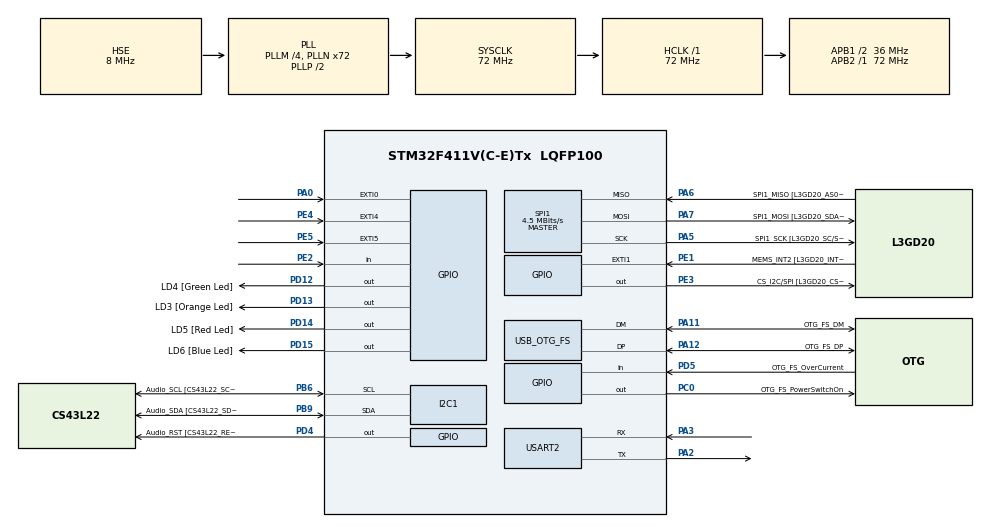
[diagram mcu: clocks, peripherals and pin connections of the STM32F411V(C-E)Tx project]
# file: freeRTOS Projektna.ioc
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FREERTOS.Tasks01=defaultTask,24,128,StartDefaultTask,Default,NULL,Dynamic,NULL,NULL
FREERTOS.configGENERATE_RUN_TIME_STATS=1
FREERTOS.configRECORD_STACK_HIGH_ADDRESS=1
FREERTOS.configUSE_NEWLIB_REENTRANT=1
FREERTOS.configUSE_STATS_FORMATTING_FUNCTIONS=1
I2C1.DutyCycle=I2C_DUTYCYCLE_16_9
I2C1.I2C_Mode=I2C_Fast
Mcu.Family=STM32F4
Mcu.Name=STM32F411V(C-E)Tx
Mcu.Package=LQFP100
NVIC.OTG_FS_IRQn=true\:5\:0\:false\:false\:true\:true\:false\:true\:true
NVIC.PriorityGroup=NVIC_PRIORITYGROUP_4
NVIC.TIM4_IRQn=true\:15\:0\:false\:false\:true\:false\:false\:true\:true
NVIC.TimeBase=TIM4_IRQn
NVIC.TimeBaseIP=TIM4
NVIC.USART2_IRQn=true\:5\:0\:false\:false\:true\:true\:true\:true\:true
PA0-WKUP.GPIO_ModeDefaultEXTI=GPIO_MODE_EVT_RISING
PA0-WKUP.Signal=GPXTI0
PA10.GPIO_Label=OTG_FS_ID
PA10.Signal=USB_OTG_FS_ID
PA11.GPIO_Label=OTG_FS_DM
PA11.Mode=Device_Only
PA11.Signal=USB_OTG_FS_DM
PA12.GPIO_Label=OTG_FS_DP
PA12.Mode=Device_Only
PA12.Signal=USB_OTG_FS_DP
PA13.GPIO_Label=SWDIO
PA13.Mode=Serial_Wire
PA13.Signal=SYS_JTMS-SWDIO
PA14.GPIO_Label=SWCLK
PA14.Mode=Serial_Wire
PA14.Signal=SYS_JTCK-SWCLK
PA2.Mode=Asynchronous
PA2.Signal=USART2_TX
PA3.Mode=Asynchronous
PA3.Signal=USART2_RX
PA4.GPIO_Label=I2S3_WS [CS43L22_LRCK]
PA4.GPIO_Mode=GPIO_MODE_AF_PP
PA4.GPIO_PuPd=GPIO_NOPULL
PA4.GPIO_Speed=GPIO_SPEED_FREQ_LOW
PA4.Signal=I2S3_WS
PA5.GPIO_Label=SPI1_SCK [L3GD20_SC/SPC]
PA5.Mode=Full_Duplex_Master
PA5.Signal=SPI1_SCK
PA6.GPIO_Label=SPI1_MISO [L3GD20_AS0/SDO]
PA6.Mode=Full_Duplex_Master
PA6.Signal=SPI1_MISO
PA7.GPIO_Label=SPI1_MOSI [L3GD20_SDA/SDI/SDO]
PA7.Mode=Full_Duplex_Master
PA7.Signal=SPI1_MOSI
PA9.GPIO_Label=VBUS_FS
PA9.Signal=USB_OTG_FS_VBUS
PB10.GPIO_Label=CLK_IN [MP45DT02_CLK]
PB10.Signal=I2S2_CK
PB12.Signal=I2S2_WS
PB3.GPIO_Label=SWO
PB3.Signal=SYS_JTDO-SWO
PB6.GPIO_Label=Audio_SCL [CS43L22_SCL]
PB6.GPIO_Mode=GPIO_MODE_AF_OD
PB6.GPIO_PuPd=GPIO_NOPULL
PB6.GPIO_Speed=GPIO_SPEED_FREQ_LOW
PB6.Mode=I2C
PB6.Signal=I2C1_SCL
PB9.GPIO_Label=Audio_SDA [CS43L22_SDA]
PB9.GPIO_Mode=GPIO_MODE_AF_OD
PB9.GPIO_PuPd=GPIO_NOPULL
PB9.GPIO_Speed=GPIO_SPEED_FREQ_LOW
PB9.Mode=I2C
PB9.Signal=I2C1_SDA
PC0.GPIO_Label=OTG_FS_PowerSwitchOn
PC0.PinState=GPIO_PIN_SET
PC0.Signal=GPIO_Output
PC10.GPIO_Label=I2S3_SCK [CS43L22_SCLK]
PC10.GPIO_Mode=GPIO_MODE_AF_PP
PC10.GPIO_PuPd=GPIO_NOPULL
PC10.GPIO_Speed=GPIO_SPEED_FREQ_LOW
PC10.Signal=I2S3_CK
PC12.GPIO_Label=I2S3_SD [CS43L22_SDIN]
PC12.GPIO_Mode=GPIO_MODE_AF_PP
PC12.GPIO_PuPd=GPIO_NOPULL
PC12.GPIO_Speed=GPIO_SPEED_FREQ_LOW
PC12.Signal=I2S3_SD
PC14-OSC32_IN.GPIO_Label=PC14-OSC32_IN
PC14-OSC32_IN.Signal=RCC_OSC32_IN
PC15-OSC32_OUT.GPIO_Label=PC15-OSC32_OUT
PC15-OSC32_OUT.Signal=RCC_OSC32_OUT
PC3.GPIO_Label=PDM_OUT [MP45DT02_DOUT]
PC3.Signal=I2S2_SD
PC7.GPIO_Label=I2S3_MCK [CS43L22_MCLK]
PC7.GPIO_Mode=GPIO_MODE_AF_PP
PC7.GPIO_PuPd=GPIO_NOPULL
PC7.GPIO_Speed=GPIO_SPEED_FREQ_LOW
PC7.Signal=I2S3_MCK
PD12.GPIO_Label=LD4 [Green Led]
PD12.GPIO_PuPd=GPIO_NOPULL
PD12.GPIO_Speed=GPIO_SPEED_FREQ_LOW
PD12.Signal=GPIO_Output
PD13.GPIO_Label=LD3 [Orange Led]
PD13.GPIO_PuPd=GPIO_NOPULL
PD13.GPIO_Speed=GPIO_SPEED_FREQ_LOW
PD13.Signal=GPIO_Output
PD14.GPIO_Label=LD5 [Red Led]
PD14.GPIO_PuPd=GPIO_NOPULL
PD14.GPIO_Speed=GPIO_SPEED_FREQ_LOW
PD14.Signal=GPIO_Output
PD15.GPIO_Label=LD6 [Blue Led]
PD15.GPIO_PuPd=GPIO_NOPULL
PD15.GPIO_Speed=GPIO_SPEED_FREQ_LOW
PD15.Signal=GPIO_Output
PD4.GPIO_Label=Audio_RST [CS43L22_RESET]
PD4.Signal=GPIO_Output
PD5.GPIO_Label=OTG_FS_OverCurrent
PD5.Signal=GPIO_Input
PE1.GPIO_Label=MEMS_INT2 [L3GD20_INT2]
PE1.GPIO_ModeDefaultEXTI=GPIO_MODE_EVT_RISING
PE1.Signal=GPXTI1
PE2.Signal=GPIO_Input
PE3.GPIO_Label=CS_I2C/SPI [L3GD20_CS_I2C/SPI]
PE3.GPIO_Speed=GPIO_SPEED_FREQ_HIGH
PE3.Signal=GPIO_Output
PE4.GPIO_ModeDefaultEXTI=GPIO_MODE_EVT_RISING
PE4.Signal=GPXTI4
PE5.GPIO_ModeDefaultEXTI=GPIO_MODE_EVT_RISING
PE5.Signal=GPXTI5
PH0\ -\ OSC_IN.GPIO_Label=PH0-OSC_IN
PH0\ -\ OSC_IN.Mode=HSE-External-Oscillator
PH0\ -\ OSC_IN.Signal=RCC_OSC_IN
PH1\ -\ OSC_OUT.GPIO_Label=PH1-OSC_OUT
PH1\ -\ OSC_OUT.Mode=HSE-External-Oscillator
PH1\ -\ OSC_OUT.Signal=RCC_OSC_OUT
ProjectManager.HeapSize=0x200
ProjectManager.StackSize=0x400
ProjectManager.TargetToolchain=STM32CubeIDE
RCC.48MHZClocksFreq_Value=48000000
RCC.AHBFreq_Value=72000000
RCC.APB1CLKDivider=RCC_HCLK_DIV2
RCC.APB1Freq_Value=36000000
RCC.APB1TimFreq_Value=72000000
RCC.APB2Freq_Value=72000000
RCC.APB2TimFreq_Value=72000000
RCC.CortexFreq_Value=72000000
RCC.HCLKFreq_Value=72000000
RCC.HSE_VALUE=8000000
RCC.HSI_VALUE=16000000
RCC.LSE_VALUE=32768
RCC.PLLI2SM=5
RCC.PLLI2SN=200
RCC.PLLM=4
RCC.PLLN=72
RCC.PLLQ=3
RCC.SYSCLKFreq_VALUE=72000000
RCC.SYSCLKSource=RCC_SYSCLKSOURCE_PLLCLK
RCC.VCOOutputFreq_Value=144000000
SPI1.BaudRatePrescaler=SPI_BAUDRATEPRESCALER_16
SPI1.CLKPhase=SPI_PHASE_2EDGE
SPI1.CLKPolarity=SPI_POLARITY_HIGH
SPI1.CalculateBaudRate=4.5 MBits/s
SPI1.Direction=SPI_DIRECTION_2LINES
SPI1.Mode=SPI_MODE_MASTER
SPI1.VirtualType=VM_MASTER
USART2.VirtualMode=VM_ASYNC
USB_DEVICE.CLASS_NAME_FS=CDC
USB_DEVICE.VirtualMode=Cdc
USB_DEVICE.VirtualModeFS=Cdc_FS
USB_OTG_FS.VirtualMode=Device_Only
VP_FREERTOS_VS_CMSIS_V2.Mode=CMSIS_V2
VP_SYS_VS_tim4.Mode=TIM4
VP_TIM10_VS_ClockSourceINT.Mode=Enable_Timer
VP_USB_DEVICE_VS_USB_DEVICE_CDC_FS.Mode=CDC_FS
board=STM32F411E-DISCO

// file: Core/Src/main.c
/* USER CODE BEGIN Header */
/**
  ******************************************************************************
  * @file           : main.c
  * @brief          : Main program body
  ******************************************************************************
  * @attention
  *
  * Copyright (c) 2024 STMicroelectronics.
  * All rights reserved.
  *
  * This software is licensed under terms that can be found in the LICENSE file
  * in the root directory of this software component.
  * If no LICENSE file comes with this software, it is provided AS-IS.
  *
  ******************************************************************************
  */
/* USER CODE END Header */
#include "main.h"
#include "cmsis_os.h"
#include "usb_device.h"

/* USER CODE BEGIN Includes */
#include "FreeRTOS.h"
#include "task.h"
#include "queue.h"
#include "event_groups.h"
#include "esp32_manager.h"
#include "MQTT_dispatcher.h"
/* USER CODE END Includes */

/* USER CODE BEGIN PD */
//#define USED_UART USART2
//#define WIFI_SSID A1-8CB990
//#define WIFI_PASS NLMJGNENXN
//#define MQTT_BROKER_PORT 1883

#define TaskReadAccel_BIT (1UL << 0UL)
#define TaskSendAccel_BIT (1UL << 1UL)
#define TaskReadGyro_BIT (1UL << 2UL)
/* USER CODE END PD */

I2C_HandleTypeDef hi2c1;

SPI_HandleTypeDef hspi1;

TIM_HandleTypeDef htim10;

UART_HandleTypeDef huart2;

/* Definitions for defaultTask */
osThreadId_t defaultTaskHandle;
const osThreadAttr_t defaultTask_attributes = {
  .name = "defaultTask",
  .stack_size = 128 * 4,
  .priority = (osPriority_t) osPriorityNormal,
};
/* USER CODE BEGIN PV */
EXTERN_TASK_HANDLES
QueueHandle_t QueueGyro;
QueueHandle_t QueueAccel;
EventGroupHandle_t xEventGroup;
uint8_t cip2 = 11;
int16_t meritev_test[6];
int ret;
/* USER CODE END PV */

void SystemClock_Config(void);
static void MX_GPIO_Init(void);
static void MX_I2C1_Init(void);
static void MX_SPI1_Init(void);
static void MX_USART2_UART_Init(void);
static void MX_TIM10_Init(void);
void StartDefaultTask(void *argument);

/* USER CODE BEGIN PFP */
void TaskReadGyro(void *pvParameters);
void TaskReadAccel(void *pvParameters);
void TaskSendGyro(void *pvParameters);
void TaskSendAccel(void *pvParameters);

void initGyro(void);
void initAccel(void);
uint8_t spi1_beriRegister(uint8_t);
void spi1_beriRegistre(uint8_t, uint8_t*, uint8_t);
void spi1_pisiRegister(uint8_t, uint8_t);
uint8_t i2c1_pisiRegister(uint8_t, uint8_t, uint8_t);
void i2c1_beriRegistre(uint8_t, uint8_t, uint8_t*, uint8_t);
void initAccel(void);
/* USER CODE END PFP */

/* USER CODE BEGIN 0 */
uint8_t spi1_beriRegister(uint8_t reg) {
    uint16_t buf_out, buf_in;
    reg |= 0x80; // najpomembnejsi bit na 1
    buf_out = reg; // little endian, se postavi na pravo mesto ....
    HAL_GPIO_WritePin(GPIOE, GPIO_PIN_3, GPIO_PIN_RESET);
    HAL_SPI_TransmitReceive(&hspi1, (uint8_t*)&buf_out, (uint8_t*)&buf_in, 2, 2); // blocking posiljanje ....
    HAL_GPIO_WritePin(GPIOE, GPIO_PIN_3, GPIO_PIN_SET);
    return buf_in >> 8; // little endian...
}
void spi1_pisiRegister(uint8_t reg, uint8_t vrednost) {
    uint16_t buf_out;
    buf_out = reg | (vrednost<<8); // little endian, se postavi na pravo mesto ....
    HAL_GPIO_WritePin(GPIOE, GPIO_PIN_3, GPIO_PIN_RESET);
    HAL_SPI_Transmit(&hspi1, (uint8_t*)&buf_out, 2, 2); // blocking posiljanje ....
    HAL_GPIO_WritePin(GPIOE, GPIO_PIN_3, GPIO_PIN_SET);
}
void spi1_beriRegistre(uint8_t reg, uint8_t* buffer, uint8_t velikost) {
    reg |= 0xC0; // najpomembnejsa bita na 1
    HAL_GPIO_WritePin(GPIOE, GPIO_PIN_3, GPIO_PIN_RESET);
    HAL_SPI_Transmit(&hspi1, &reg, 1, 10); // blocking posiljanje....
    HAL_SPI_Receive(&hspi1,  buffer, velikost, velikost); // blocking posiljanje....
    HAL_GPIO_WritePin(GPIOE, GPIO_PIN_3, GPIO_PIN_SET);
}
void initGyro() { // ne pozabit klicat te funkcije
    uint8_t cip = spi1_beriRegister(0x0F);
    if (cip!=0xD4 && cip!=0xD3) {
        for (;;);
    }
    spi1_pisiRegister(0x20, 0x4F); // CTRL_REG1 PD Zen Yen Xen 200hz
    //TUKAJ NASTAVI Hz pa sensitivity +-500dps
    spi1_pisiRegister(0x22, 0x08); //DRDY
    spi1_pisiRegister(0x23, 0x10);
}
uint8_t i2c1_pisiRegister(uint8_t naprava, uint8_t reg, uint8_t podatek) {
    naprava <<= 1;
    return HAL_I2C_Mem_Write(&hi2c1, naprava, reg, I2C_MEMADD_SIZE_8BIT, &podatek, 1, 10);
}
void i2c1_beriRegistre(uint8_t naprava, uint8_t reg, uint8_t* podatek, uint8_t dolzina) {
    if ((dolzina>1)&&(naprava==0x19))  // ce je naprava 0x19 moramo postaviti ta bit, ce zelimo brati vec zlogov
        reg |= 0x80;
    naprava <<= 1;
    HAL_I2C_Mem_Read(&hi2c1, naprava, reg, I2C_MEMADD_SIZE_8BIT, podatek, dolzina, dolzina);
}
void initAccel() {
    i2c1_pisiRegister(0x19, 0x20, 0x27);
    i2c1_pisiRegister(0x19, 0x23, 0xA8);
}
void TaskReadGyro(void *pvParameters){
	int16_t gyroX;
	int16_t gyroY;
	int16_t gyroZ;

	const EventBits_t xBitsToWaitFor = (TaskReadAccel_BIT | TaskSendAccel_BIT);
	while(1){
		xEventGroupWaitBits(xEventGroup, xBitsToWaitFor, pdTRUE, pdFALSE, portMAX_DELAY);

		spi1_beriRegistre(0x28, (uint8_t*)&gyroX, 2);
		spi1_beriRegistre(0x2A, (uint8_t*)&gyroY, 2);
		spi1_beriRegistre(0x2C, (uint8_t*)&gyroZ, 2);

		xQueueSendToBack(QueueGyro, &gyroX, 0);
		xQueueSendToBack(QueueGyro, &gyroY, 0);
		xQueueSendToBack(QueueGyro, &gyroZ, 0);
	}
}
void TaskReadAccel(void *pvParameters){
	float accelX;
	float accelY;
	float accelZ;
	int16_t meritve[3];

	while(1){
		//i2c1_beriRegistre(0x19, 0x28,(uint8_t*)&meritve[0], 2);
		//i2c1_beriRegistre(0x19, 0x2A,(uint8_t*)&meritve[1], 2);
		//i2c1_beriRegistre(0x19, 0x2C,(uint8_t*)&meritve[2], 2);
		i2c1_beriRegistre(0x19, 0x28,(uint8_t*)&meritve, 6);

		meritve[0] = meritve[0] >> 4;
		meritve[1] = meritve[1] >> 4;
		meritve[2] = meritve[2] >> 4;

		accelX = meritve[0] * 0.0039;
		accelY = meritve[1] * 0.0039;
		accelZ = meritve[2] * 0.0039;

		xQueueSendToBack(QueueAccel, &accelX, 0);
		xQueueSendToBack(QueueAccel, &accelY, 0);
		xQueueSendToBack(QueueAccel, &accelZ, 0);

		xEventGroupSetBits(xEventGroup, TaskReadAccel_BIT);
	}

}
void TaskSendGyro(void *pvParameters){
	int16_t meritev[10];
	float meritev_send[5];

	meritev_send[0] = 0xaaaa;

	meritev[0] = 0xaaaa;
	const EventBits_t xBitsToWaitFor = (TaskReadAccel_BIT | TaskSendAccel_BIT | TaskReadGyro_BIT);
	const TickType_t xTicksToWait = pdMS_TO_TICKS(100);
	while(1){
		xEventGroupWaitBits(xEventGroup, xBitsToWaitFor, pdTRUE, pdFALSE, portMAX_DELAY);

		xQueueReceive(QueueGyro, &meritev[1], xTicksToWait);
		xQueueReceive(QueueGyro, &meritev[2], xTicksToWait);
		xQueueReceive(QueueGyro, &meritev[3], xTicksToWait);

//		meritev_send[1] =meritev[1] * 0.0175;
//		meritev_send[2] =meritev[2] * 0.0175;
//		meritev_send[3] =meritev[3] * 0.0175;

		meritev[4] = DWT->CYCCNT;
		//float clock = DWT->CYCCNT;

		//posli
		CDC_Transmit_FS((uint8_t*)&meritev, sizeof(meritev));
		//CDC_Transmit_FS((uint8_t*)&clock, sizeof(clock));
	}
}
void TaskSendAccel(void *pvParameters){
	float meritev[5];

	meritev[0] = 0xbbbb;
	const TickType_t xTicksToWait = pdMS_TO_TICKS(100);
	while(1){
		xQueueReceive(QueueAccel, &meritev[1], xTicksToWait);
		xQueueReceive(QueueAccel, &meritev[2], xTicksToWait);
		xQueueReceive(QueueAccel, &meritev[3], xTicksToWait);

		meritev[4] = DWT->CYCCNT;
		//posli
		//CDC_Transmit_FS((uint8_t*)&glava, sizeof(glava));
		CDC_Transmit_FS((uint8_t*)&meritev, sizeof(meritev));

		xEventGroupSetBits(xEventGroup, TaskSendAccel_BIT);

	}
}

void task_test(void *pvParameteres){
	int16_t meritev[8];
	meritev[0] = 0xaaaa;

	float meritev2[4];
	meritev2[0] = 0xbbbb;

	float accelX;
	float accelY;
	float accelZ;

	int16_t meritve[3];
	while(1){
		i2c1_beriRegistre(0x19, 0x28,(uint8_t*)&meritve[0], 2);
		i2c1_beriRegistre(0x19, 0x2A,(uint8_t*)&meritve[1], 2);
		i2c1_beriRegistre(0x19, 0x2C,(uint8_t*)&meritve[2], 2);

		meritve[0] = meritve[0] >> 4;
		meritve[1] = meritve[1] >> 4;
		meritve[2] = meritve[2] >> 4;

		accelX = meritve[0] * 0.0039;
		accelY = meritve[1] * 0.0039;
		accelZ = meritve[2] * 0.0039;

		meritev2[1] = accelX;
		meritev2[2] = accelY;
		meritev2[3] = accelZ;

		mqtt_pub_raw("AccelData", &meritev2, sizeof(meritev2), 1, 0, pdMS_TO_TICKS(100));

		int16_t gyroX;
		int16_t gyroY;
		int16_t gyroZ;

		spi1_beriRegistre(0x28, (uint8_t*)&gyroX, 2);
		spi1_beriRegistre(0x2A, (uint8_t*)&gyroY, 2);
		spi1_beriRegistre(0x2C, (uint8_t*)&gyroZ, 2);

//		gyroX *= 0.0175;
//		gyroY *= 0.0175;
//		gyroZ *= 0.0175;

		meritev[1] = gyroX;
		meritev[2] = gyroY;
		meritev[3] = gyroZ;

		mqtt_pub_raw("GyroData", &meritev, sizeof(meritev), 1, 0, pdMS_TO_TICKS(100));

		//vTaskDelay(1000 / portTICK_PERIOD_MS);
	}
}
/* USER CODE END 0 */

int main(void)
{

  /* MCU Configuration--------------------------------------------------------*/

  /* Reset of all peripherals, Initializes the Flash interface and the Systick. */
  HAL_Init();

  /* Configure the system clock */
  SystemClock_Config();

  /* Initialize all configured peripherals */
  MX_GPIO_Init();
  MX_I2C1_Init();
  MX_SPI1_Init();
  MX_USART2_UART_Init();
  MX_TIM10_Init();
  /* USER CODE BEGIN 2 */
  __HAL_I2C_ENABLE(&hi2c1);
  __HAL_SPI_ENABLE(&hspi1);
  HAL_GPIO_WritePin(GPIOE, GPIO_PIN_3, GPIO_PIN_SET);

  initGyro();
  initAccel();

//  if(esp32_init(&huart2) != pdPASS){
//	  for(;;);
//  }
//  HAL_GPIO_WritePin(GPIOD, GPIO_PIN_13, GPIO_PIN_SET);
//  if(mqtt_init() != pdPASS){
//	  for(;;);
//  }
//  HAL_GPIO_WritePin(GPIOD, GPIO_PIN_14, GPIO_PIN_SET);

  /* USER CODE END 2 */

  /* Init scheduler */
  osKernelInitialize();

  /* USER CODE BEGIN RTOS_QUEUES */
  /* add queues, ... */
  QueueGyro = xQueueCreate( 5, sizeof( int16_t ) );
  QueueAccel = xQueueCreate( 5, sizeof( float ) );
  /* USER CODE END RTOS_QUEUES */

  /* Create the thread(s) */
  /* creation of defaultTask */
  defaultTaskHandle = osThreadNew(StartDefaultTask, NULL, &defaultTask_attributes);

  /* USER CODE BEGIN RTOS_THREADS */
  /* add threads, ... */
  xTaskCreate(TaskSendGyro, "CDC_Gyro", configMINIMAL_STACK_SIZE, NULL, 2, NULL);
  xTaskCreate(TaskSendAccel, "CDC_Accel", configMINIMAL_STACK_SIZE, NULL, 2, NULL);
  xTaskCreate(TaskReadGyro, "Data_Gyro", configMINIMAL_STACK_SIZE, NULL, 1, NULL);
  xTaskCreate(TaskReadAccel, "Data_Accel", configMINIMAL_STACK_SIZE, NULL, 1, NULL);

  //xTaskCreate(task_test, "running branje in pisanje accel", 500, NULL, 1, NULL);

  /* USER CODE END RTOS_THREADS */

  /* USER CODE BEGIN RTOS_EVENTS */
  /* add events, ... */
  xEventGroup = xEventGroupCreate();
  /* USER CODE END RTOS_EVENTS */

  /* Start scheduler */
  osKernelStart();

  /* We should never get here as control is now taken by the scheduler */
  /* Infinite loop */
  while (1)
  {

  }
}

void SystemClock_Config(void)
{
  RCC_OscInitTypeDef RCC_OscInitStruct = {0};
  RCC_ClkInitTypeDef RCC_ClkInitStruct = {0};

  /** Configure the main internal regulator output voltage
  */
  __HAL_RCC_PWR_CLK_ENABLE();
  __HAL_PWR_VOLTAGESCALING_CONFIG(PWR_REGULATOR_VOLTAGE_SCALE1);

  /** Initializes the RCC Oscillators according to the specified parameters
  * in the RCC_OscInitTypeDef structure.
  */
  RCC_OscInitStruct.OscillatorType = RCC_OSCILLATORTYPE_HSE;
  RCC_OscInitStruct.HSEState = RCC_HSE_ON;
  RCC_OscInitStruct.PLL.PLLState = RCC_PLL_ON;
  RCC_OscInitStruct.PLL.PLLSource = RCC_PLLSOURCE_HSE;
  RCC_OscInitStruct.PLL.PLLM = 4;
  RCC_OscInitStruct.PLL.PLLN = 72;
  RCC_OscInitStruct.PLL.PLLP = RCC_PLLP_DIV2;
  RCC_OscInitStruct.PLL.PLLQ = 3;
  if (HAL_RCC_OscConfig(&RCC_OscInitStruct) != HAL_OK)
  {
    Error_Handler();
  }

  /** Initializes the CPU, AHB and APB buses clocks
  */
  RCC_ClkInitStruct.ClockType = RCC_CLOCKTYPE_HCLK|RCC_CLOCKTYPE_SYSCLK
                              |RCC_CLOCKTYPE_PCLK1|RCC_CLOCKTYPE_PCLK2;
  RCC_ClkInitStruct.SYSCLKSource = RCC_SYSCLKSOURCE_PLLCLK;
  RCC_ClkInitStruct.AHBCLKDivider = RCC_SYSCLK_DIV1;
  RCC_ClkInitStruct.APB1CLKDivider = RCC_HCLK_DIV2;
  RCC_ClkInitStruct.APB2CLKDivider = RCC_HCLK_DIV1;

  if (HAL_RCC_ClockConfig(&RCC_ClkInitStruct, FLASH_LATENCY_2) != HAL_OK)
  {
    Error_Handler();
  }
}

static void MX_I2C1_Init(void)
{

  hi2c1.Instance = I2C1;
  hi2c1.Init.ClockSpeed = 400000;
  hi2c1.Init.DutyCycle = I2C_DUTYCYCLE_16_9;
  hi2c1.Init.OwnAddress1 = 0;
  hi2c1.Init.AddressingMode = I2C_ADDRESSINGMODE_7BIT;
  hi2c1.Init.DualAddressMode = I2C_DUALADDRESS_DISABLE;
  hi2c1.Init.OwnAddress2 = 0;
  hi2c1.Init.GeneralCallMode = I2C_GENERALCALL_DISABLE;
  hi2c1.Init.NoStretchMode = I2C_NOSTRETCH_DISABLE;
  if (HAL_I2C_Init(&hi2c1) != HAL_OK)
  {
    Error_Handler();
  }

}

static void MX_SPI1_Init(void)
{

  /* SPI1 parameter configuration*/
  hspi1.Instance = SPI1;
  hspi1.Init.Mode = SPI_MODE_MASTER;
  hspi1.Init.Direction = SPI_DIRECTION_2LINES;
  hspi1.Init.DataSize = SPI_DATASIZE_8BIT;
  hspi1.Init.CLKPolarity = SPI_POLARITY_HIGH;
  hspi1.Init.CLKPhase = SPI_PHASE_2EDGE;
  hspi1.Init.NSS = SPI_NSS_SOFT;
  hspi1.Init.BaudRatePrescaler = SPI_BAUDRATEPRESCALER_16;
  hspi1.Init.FirstBit = SPI_FIRSTBIT_MSB;
  hspi1.Init.TIMode = SPI_TIMODE_DISABLE;
  hspi1.Init.CRCCalculation = SPI_CRCCALCULATION_DISABLE;
  hspi1.Init.CRCPolynomial = 10;
  if (HAL_SPI_Init(&hspi1) != HAL_OK)
  {
    Error_Handler();
  }

}

static void MX_TIM10_Init(void)
{

  htim10.Instance = TIM10;
  htim10.Init.Prescaler = 0;
  htim10.Init.CounterMode = TIM_COUNTERMODE_UP;
  htim10.Init.Period = 65535;
  htim10.Init.ClockDivision = TIM_CLOCKDIVISION_DIV1;
  htim10.Init.AutoReloadPreload = TIM_AUTORELOAD_PRELOAD_DISABLE;
  if (HAL_TIM_Base_Init(&htim10) != HAL_OK)
  {
    Error_Handler();
  }

}

static void MX_USART2_UART_Init(void)
{

  huart2.Instance = USART2;
  huart2.Init.BaudRate = 115200;
  huart2.Init.WordLength = UART_WORDLENGTH_8B;
  huart2.Init.StopBits = UART_STOPBITS_1;
  huart2.Init.Parity = UART_PARITY_NONE;
  huart2.Init.Mode = UART_MODE_TX_RX;
  huart2.Init.HwFlowCtl = UART_HWCONTROL_NONE;
  huart2.Init.OverSampling = UART_OVERSAMPLING_16;
  if (HAL_UART_Init(&huart2) != HAL_OK)
  {
    Error_Handler();
  }

}

static void MX_GPIO_Init(void)
{
  GPIO_InitTypeDef GPIO_InitStruct = {0};

  /* GPIO Ports Clock Enable */
  __HAL_RCC_GPIOE_CLK_ENABLE();
  __HAL_RCC_GPIOC_CLK_ENABLE();
  __HAL_RCC_GPIOH_CLK_ENABLE();
  __HAL_RCC_GPIOA_CLK_ENABLE();
  __HAL_RCC_GPIOB_CLK_ENABLE();
  __HAL_RCC_GPIOD_CLK_ENABLE();

  /*Configure GPIO pin Output Level */
  HAL_GPIO_WritePin(CS_I2C_SPI_GPIO_Port, CS_I2C_SPI_Pin, GPIO_PIN_RESET);

  /*Configure GPIO pin Output Level */
  HAL_GPIO_WritePin(OTG_FS_PowerSwitchOn_GPIO_Port, OTG_FS_PowerSwitchOn_Pin, GPIO_PIN_SET);

  /*Configure GPIO pin Output Level */
  HAL_GPIO_WritePin(GPIOD, LD4_Pin|LD3_Pin|LD5_Pin|LD6_Pin
                          |Audio_RST_Pin, GPIO_PIN_RESET);

  /*Configure GPIO pin : PE2 */
  GPIO_InitStruct.Pin = GPIO_PIN_2;
  GPIO_InitStruct.Mode = GPIO_MODE_INPUT;
  GPIO_InitStruct.Pull = GPIO_NOPULL;
  HAL_GPIO_Init(GPIOE, &GPIO_InitStruct);

  /*Configure GPIO pin : CS_I2C_SPI_Pin */
  GPIO_InitStruct.Pin = CS_I2C_SPI_Pin;
  GPIO_InitStruct.Mode = GPIO_MODE_OUTPUT_PP;
  GPIO_InitStruct.Pull = GPIO_NOPULL;
  GPIO_InitStruct.Speed = GPIO_SPEED_FREQ_HIGH;
  HAL_GPIO_Init(CS_I2C_SPI_GPIO_Port, &GPIO_InitStruct);

  /*Configure GPIO pins : PE4 PE5 MEMS_INT2_Pin */
  GPIO_InitStruct.Pin = GPIO_PIN_4|GPIO_PIN_5|MEMS_INT2_Pin;
  GPIO_InitStruct.Mode = GPIO_MODE_EVT_RISING;
  GPIO_InitStruct.Pull = GPIO_NOPULL;
  HAL_GPIO_Init(GPIOE, &GPIO_InitStruct);

  /*Configure GPIO pin : OTG_FS_PowerSwitchOn_Pin */
  GPIO_InitStruct.Pin = OTG_FS_PowerSwitchOn_Pin;
  GPIO_InitStruct.Mode = GPIO_MODE_OUTPUT_PP;
  GPIO_InitStruct.Pull = GPIO_NOPULL;
  GPIO_InitStruct.Speed = GPIO_SPEED_FREQ_LOW;
  HAL_GPIO_Init(OTG_FS_PowerSwitchOn_GPIO_Port, &GPIO_InitStruct);

  /*Configure GPIO pin : PDM_OUT_Pin */
  GPIO_InitStruct.Pin = PDM_OUT_Pin;
  GPIO_InitStruct.Mode = GPIO_MODE_AF_PP;
  GPIO_InitStruct.Pull = GPIO_NOPULL;
  GPIO_InitStruct.Speed = GPIO_SPEED_FREQ_LOW;
  GPIO_InitStruct.Alternate = GPIO_AF5_SPI2;
  HAL_GPIO_Init(PDM_OUT_GPIO_Port, &GPIO_InitStruct);

  /*Configure GPIO pin : PA0 */
  GPIO_InitStruct.Pin = GPIO_PIN_0;
  GPIO_InitStruct.Mode = GPIO_MODE_EVT_RISING;
  GPIO_InitStruct.Pull = GPIO_NOPULL;
  HAL_GPIO_Init(GPIOA, &GPIO_InitStruct);

  /*Configure GPIO pin : I2S3_WS_Pin */
  GPIO_InitStruct.Pin = I2S3_WS_Pin;
  GPIO_InitStruct.Mode = GPIO_MODE_AF_PP;
  GPIO_InitStruct.Pull = GPIO_NOPULL;
  GPIO_InitStruct.Speed = GPIO_SPEED_FREQ_LOW;
  GPIO_InitStruct.Alternate = GPIO_AF6_SPI3;
  HAL_GPIO_Init(I2S3_WS_GPIO_Port, &GPIO_InitStruct);

  /*Configure GPIO pins : CLK_IN_Pin PB12 */
  GPIO_InitStruct.Pin = CLK_IN_Pin|GPIO_PIN_12;
  GPIO_InitStruct.Mode = GPIO_MODE_AF_PP;
  GPIO_InitStruct.Pull = GPIO_NOPULL;
  GPIO_InitStruct.Speed = GPIO_SPEED_FREQ_LOW;
  GPIO_InitStruct.Alternate = GPIO_AF5_SPI2;
  HAL_GPIO_Init(GPIOB, &GPIO_InitStruct);

  /*Configure GPIO pins : LD4_Pin LD3_Pin LD5_Pin LD6_Pin
                           Audio_RST_Pin */
  GPIO_InitStruct.Pin = LD4_Pin|LD3_Pin|LD5_Pin|LD6_Pin
                          |Audio_RST_Pin;
  GPIO_InitStruct.Mode = GPIO_MODE_OUTPUT_PP;
  GPIO_InitStruct.Pull = GPIO_NOPULL;
  GPIO_InitStruct.Speed = GPIO_SPEED_FREQ_LOW;
  HAL_GPIO_Init(GPIOD, &GPIO_InitStruct);

  /*Configure GPIO pins : I2S3_MCK_Pin I2S3_SCK_Pin I2S3_SD_Pin */
  GPIO_InitStruct.Pin = I2S3_MCK_Pin|I2S3_SCK_Pin|I2S3_SD_Pin;
  GPIO_InitStruct.Mode = GPIO_MODE_AF_PP;
  GPIO_InitStruct.Pull = GPIO_NOPULL;
  GPIO_InitStruct.Speed = GPIO_SPEED_FREQ_LOW;
  GPIO_InitStruct.Alternate = GPIO_AF6_SPI3;
  HAL_GPIO_Init(GPIOC, &GPIO_InitStruct);

  /*Configure GPIO pin : OTG_FS_OverCurrent_Pin */
  GPIO_InitStruct.Pin = OTG_FS_OverCurrent_Pin;
  GPIO_InitStruct.Mode = GPIO_MODE_INPUT;
  GPIO_InitStruct.Pull = GPIO_NOPULL;
  HAL_GPIO_Init(OTG_FS_OverCurrent_GPIO_Port, &GPIO_InitStruct);

}

void StartDefaultTask(void *argument)
{
  /* init code for USB_DEVICE */
  MX_USB_DEVICE_Init();
  for(;;)
  {
    osDelay(1);
  }
}

void HAL_TIM_PeriodElapsedCallback(TIM_HandleTypeDef *htim)
{
  if (htim->Instance == TIM4) {
    HAL_IncTick();
  }
}

void Error_Handler(void)
{
  __disable_irq();
  while (1)
  {
  }
}

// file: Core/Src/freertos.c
/* USER CODE BEGIN Header */
/**
  ******************************************************************************
  * File Name          : freertos.c
  * Description        : Code for freertos applications
  ******************************************************************************
  * @attention
  *
  * Copyright (c) 2024 STMicroelectronics.
  * All rights reserved.
  *
  * This software is licensed under terms that can be found in the LICENSE file
  * in the root directory of this software component.
  * If no LICENSE file comes with this software, it is provided AS-IS.
  *
  ******************************************************************************
  */
/* USER CODE END Header */

#include "FreeRTOS.h"
#include "task.h"
#include "main.h"

/* Hook prototypes */
void configureTimerForRunTimeStats(void);
unsigned long getRunTimeCounterValue(void);

/* USER CODE BEGIN 1 */
/* Functions needed when configGENERATE_RUN_TIME_STATS is on */
__weak void configureTimerForRunTimeStats(void)
{
	CoreDebug->DEMCR |= CoreDebug_DEMCR_TRCENA_Msk;
	DWT->CTRL |= 1;
	DWT->CYCCNT = 0;
}

__weak unsigned long getRunTimeCounterValue(void)
{
return DWT->CYCCNT;
}
/* USER CODE END 1 */
